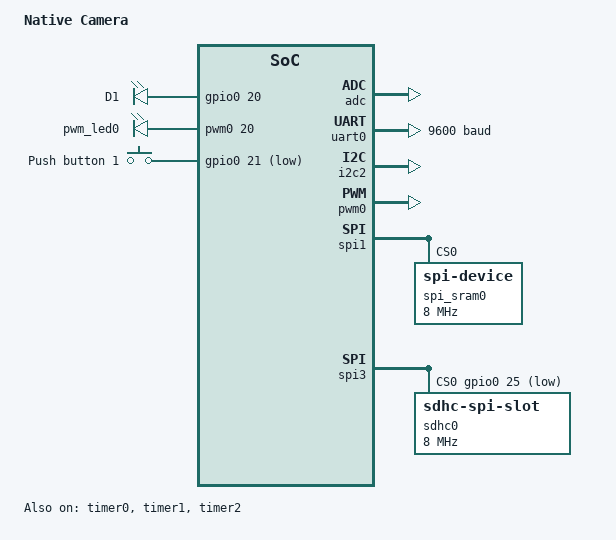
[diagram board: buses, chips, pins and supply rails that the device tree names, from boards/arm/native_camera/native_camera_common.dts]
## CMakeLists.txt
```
# SPDX-License-Identifier: Apache-2.0

cmake_minimum_required(VERSION 3.20.0)

cmake_path(SET ZephyrBase $ENV{ZEPHYR_BASE})
# set(DTC_OVERLAY_FILE ${ZephyrBase}/../modules/lib/Arduino-Zephyr-API/variants/${BOARD}/${BOARD}.overlay)
# set(ZEPHYR_EXTRA_MODULES ${ZephyrBase}/../modules/lib/Arduino-Zephyr-API)

list(APPEND BOARD_ROOT ${CMAKE_CURRENT_SOURCE_DIR})

find_package(Zephyr REQUIRED HINTS $ENV{ZEPHYR_BASE})
project(native_camera)

set(APP_SOURCE_DIR ${PROJECT_SOURCE_DIR}/src)

set(LEX_YY_C ${CMAKE_BINARY_DIR}/lex.yy.c)
set(Y_TAB_H ${CMAKE_BINARY_DIR}/y.tab.h)
set(Y_TAB_C ${CMAKE_BINARY_DIR}/y.tab.c)
set(CONFIG_L ${APP_SOURCE_DIR}/config.l)
set(CONFIG_Y ${APP_SOURCE_DIR}/config.y)


target_sources(app PRIVATE src/main.c)
target_sources(app PRIVATE src/ov7675.c)
#target_sources(app PRIVATE src/sram.c)
target_sources(app PRIVATE src/modem.c)
target_sources(app PRIVATE src/ftp.c)
target_sources(app PRIVATE src/http.c)
target_sources(app PRIVATE src/sd.c)
target_sources(app PRIVATE src/util.c)
target_sources(app PRIVATE src/jpg.c)
target_sources(app PRIVATE src/common.c)
target_sources(app PRIVATE src/watchdog.c)
target_sources(app PRIVATE src/resets.c)
target_sources(app PRIVATE src/tmalloc.c)

target_sources(app PRIVATE ${LEX_YY_C})
target_sources(app PRIVATE ${Y_TAB_C})

# unit tests 
target_sources(app PRIVATE tests/test.c)
target_sources(app PRIVATE tests/test.main.c)
target_sources(app PRIVATE tests/test.modem.c)
target_sources(app PRIVATE tests/test.ov7675.c)

include_directories(app PUBLIC 
     "${APP_SOURCE_DIR}"
     "${CMAKE_BINARY_DIR}" #for y.tab.h
     )

message(STATUS "Host System Name: ${CMAKE_HOST_SYSTEM_NAME}")
if (CMAKE_HOST_SYSTEM_NAME STREQUAL "Linux")
	message(STATUS "${CMAKE_HOST_SYSTEM_NAME} yacc/flex build rules")
	##for flex on linux
	add_custom_command(
	    OUTPUT ${LEX_YY_C} # The output generated by the code generator
	    COMMAND flex -o${LEX_YY_C} ${CONFIG_L} 
	    DEPENDS ${CONFIG_L} # Add dependencies like input files or the code generator executable
	    COMMENT "Flex: generating lexer"
	)

	##for yacc on linux
	add_custom_command(
	    OUTPUT ${Y_TAB_C} ${Y_TAB_H} # The output generated by the code generator
	    COMMAND bison -d -o${Y_TAB_C} ${CONFIG_Y} 
	    DEPENDS ${CONFIG_Y} # Add dependencies like input files or the code generator executable
	    COMMENT "Bison: generating parser"
	)

elseif(CMAKE_HOST_SYSTEM_NAME STREQUAL "Windows")
	message(STATUS "${CMAKE_HOST_SYSTEM_NAME} yacc/flex build rules")
	##for flex on windows via wsl
	add_custom_command(
	    OUTPUT ${LEX_YY_C} # The output generated by the code generator
	    COMMAND wsl flex -o`wslpath -u ${LEX_YY_C}` `wslpath -u ${CONFIG_L}` 
	    DEPENDS ${CONFIG_L} # Add dependencies like input files or the code generator executable
	    COMMENT "Flex: generating lexer"
	)

	##for yacc on windows via wsl
	add_custom_command(
	    OUTPUT ${Y_TAB_C} ${Y_TAB_H} # The output generated by the code generator
	    COMMAND wsl yacc -d `wslpath -u ${CONFIG_Y}` -o`wslpath -u ${Y_TAB_C}` 
	    DEPENDS ${CONFIG_Y} # Add dependencies like input files or the code generator executable
	    COMMENT "Yacc: generating parser"
	)
else()
	message(FATAL_ERROR "no rule to call flex and bison to generate parser files. Please implement here")

endif()
```

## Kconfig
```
# firmware configuration

source "Kconfig.zephyr"

config DBG_CONFIG_OVERLAY 
 bool "Apply an overlay to the sdhc config file"
 default n

config DBG_SEND_IMAGE_RTT
 bool "Send all images over RTT after capture"
 default n

config DBG_TEST_RUNTIME
 bool "Run the test runtime before main code"
 default n
```

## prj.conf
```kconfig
CONFIG_GPIO=y

CONFIG_TRUSTED_EXECUTION_NONSECURE=y

#CONFIG_NO_OPTIMIZATIONS=y
CONFIG_PRINTK=y
CONFIG_CONSOLE=y

# UART logging devzone.nordicsemi.com/.../nrf91-zephyr-enable-lte-logging
CONFIG_LOG=y
CONFIG_STDOUT_CONSOLE=y
CONFIG_UART_CONSOLE=n
CONFIG_RTT_CONSOLE=y

#this option REQUIRES a rtt terminal to be connected
CONFIG_USE_SEGGER_RTT=y
# CONFIG_USE_SEGGER_RTT=n

CONFIG_LOG_BACKEND_RTT=y
# CONFIG_SHELL_BACKEND_RTT=y
# CONFIG_LOG_BACKEND_RTT_MODE_BLOCK=y

CONFIG_PM=y

# ##I2C
CONFIG_I2C=y
CONFIG_I2C_NRFX=y

##FILE SYSTEM SD CARD
CONFIG_DISK_DRIVER_SDMMC=y
CONFIG_FILE_SYSTEM=y
CONFIG_FAT_FILESYSTEM_ELM=y
CONFIG_FS_FATFS_LFN=y

CONFIG_DISK_ACCESS=y
CONFIG_DISK_DRIVERS=y
CONFIG_SPI=y
# dejan: The following has not been available in ncs since v2.1.0
#CONFIG_SDMMC_OVER_SPI=y
CONFIG_SPI_NRFX_RAM_BUFFER_SIZE=8

##memory
CONFIG_MAIN_STACK_SIZE=4096
CONFIG_HEAP_MEM_POOL_SIZE=16384
CONFIG_SYSTEM_WORKQUEUE_STACK_SIZE=4096

##LTE MODEM
CONFIG_NRF_MODEM_LIB=y
# CONFIG_NRF_MODEM_LIB_ON_FAULT_DO_NOTHING is not set
CONFIG_NRF_MODEM_LIB_ON_FAULT_RESET_MODEM=y
# CONFIG_NRF_MODEM_LIB_ON_FAULT_APPLICATION_SPECIFIC is not set
CONFIG_AT_MONITOR=y

# LTE link control
CONFIG_LTE_LINK_CONTROL=y
CONFIG_LTE_AUTO_INIT_AND_CONNECT=n # we want to control all this on the application side
# LTE parameters
## Network Mode / LTE category
# CONFIG_LTE_NETWORK_MODE_LTE_M=y

## PSM
# CONFIG_UDP_PSM_ENABLE=y
# CONFIG_PDN_LEGACY_PCO=y
# CONFIG_LTE_PSM_REQ_RPTAU="00000110"
# CONFIG_LTE_PSM_REQ_RAT="00000101"

## eDRX
# CONFIG_UDP_EDRX_ENABLE=n
# CONFIG_LTE_EDRX_REQ_VALUE_LTE_M="1001"

## RAI
# CONFIG_UDP_RAI_ENABLE=n
# CONFIG_LTE_RAI_REQ_VALUE="4"


CONFIG_NETWORKING=y
CONFIG_NET_NATIVE=n
CONFIG_NET_SOCKETS=y
CONFIG_NET_SOCKETS_OFFLOAD=y

CONFIG_FTP_CLIENT=y
CONFIG_FTP_CLIENT_KEEPALIVE_TIME=60
CONFIG_FTP_CLIENT_LISTEN_TIME=10
CONFIG_FTP_CLIENT_LOG_LEVEL_INF=y

CONFIG_HTTP_CLIENT=y

CONFIG_NEWLIB_LIBC=y
CONFIG_NEWLIB_LIBC_FLOAT_PRINTF=y

##RTC
CONFIG_DATE_TIME=y
CONFIG_DATE_TIME_MODEM=y
CONFIG_DATE_TIME_NTP=n

##SLEEPY
# CONFIG_LTE_PSM_REQ_RPTAU="10101010"
# CONFIG_LTE_PSM_REQ_RAT="00100001"

# General config
# CONFIG_NEWLIB_LIBC=y
# CONFIG_NCS_SAMPLES_DEFAULTS=y
CONFIG_SERIAL=n

# Network
# CONFIG_NETWORKING=y
# CONFIG_NET_SOCKETS=y

# CONFIG_DEBUG_THREAD_INFO=y
# CONFIG_THREAD_MONITOR=y
# CONFIG_DEBUG_OPTIMIZATIONS=y
CONFIG_SPEED_OPTIMIZATIONS=y

CONFIG_WATCHDOG=y
CONFIG_WDT_DISABLE_AT_BOOT=n

## reset cause information
CONFIG_HWINFO=y

# Fault diagnostics
CONFIG_RESET_ON_FATAL_ERROR=y
CONFIG_FATAL_ERROR_LOG_LEVEL_DBG=y

# Stack overflow detection
CONFIG_STACK_SENTINEL=y
CONFIG_INIT_STACKS=y
CONFIG_THREAD_STACK_INFO=n

CONFIG_THREAD_ANALYZER=n
CONFIG_THREAD_ANALYZER_AUTO=n
# CONFIG_THREAD_NAME=y
# CONFIG_THREAD_ANALYZER_AUTO_INTERVAL=1800
# CONFIG_LOG_MODE_IMMEDIATE=y

# Optional but useful
CONFIG_REBOOT=y


## FIRMWARE DEBUG CONFIGS ##
CONFIG_DBG_CONFIG_OVERLAY=n

CONFIG_DBG_SEND_IMAGE_RTT=n
CONFIG_DBG_TEST_RUNTIME=n
```

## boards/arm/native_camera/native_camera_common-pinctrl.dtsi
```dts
/*
 * Copyright (c) 2022 Nordic Semiconductor
 * SPDX-License-Identifier: Apache-2.0
 */

&pinctrl {
	uart0_default: uart0_default {
		group1 {
			psels = <NRF_PSEL(UART_TX, 0, 31)>,
				<NRF_PSEL(UART_RTS, 0, 0xFFFFFFFF)>;
		};
		group2 {
			psels = <NRF_PSEL(UART_RX, 0, 30)>,
				<NRF_PSEL(UART_CTS, 0, 0xFFFFFFFF)>;
			bias-pull-up;
		};
	};

	uart0_sleep: uart0_sleep {
		group1 {
			psels = <NRF_PSEL(UART_TX, 0, 31)>,
				<NRF_PSEL(UART_RX, 0, 30)>,
				<NRF_PSEL(UART_RTS, 0, 0xFFFFFFFF)>,
				<NRF_PSEL(UART_CTS, 0, 0xFFFFFFFF)>;
			low-power-enable;
		};
	};

	uart1_default: uart1_default {
		group1 {
			psels = <NRF_PSEL(UART_TX, 0, 1)>,
				<NRF_PSEL(UART_RTS, 0, 14)>;
		};
		group2 {
			psels = <NRF_PSEL(UART_RX, 0, 0)>,
				<NRF_PSEL(UART_CTS, 0, 15)>;
			bias-pull-up;
		};
	};

	uart1_sleep: uart1_sleep {
		group1 {
			psels = <NRF_PSEL(UART_TX, 0, 1)>,
				<NRF_PSEL(UART_RX, 0, 0)>,
				<NRF_PSEL(UART_RTS, 0, 14)>,
				<NRF_PSEL(UART_CTS, 0, 15)>;
			low-power-enable;
		};
	};

	i2c2_default: i2c2_default {
		group1 {
			psels = <NRF_PSEL(TWIM_SDA, 0, 10)>,
				<NRF_PSEL(TWIM_SCL, 0, 9)>;
		};
	};

	i2c2_sleep: i2c2_sleep {
		group1 {
			psels = <NRF_PSEL(TWIM_SDA, 0, 10)>,
				<NRF_PSEL(TWIM_SCL, 0, 9)>;
			low-power-enable;
		};
	};

	pwm0_default: pwm0_default {
		group1 {
			psels = <NRF_PSEL(PWM_OUT0, 0, 20)>;
		};
	};

	pwm0_sleep: pwm0_sleep {
		group1 {
			psels = <NRF_PSEL(PWM_OUT0, 0, 20)>;
			low-power-enable;
		};
	};

	spi1_default: spi1_default {
		group1 {
			psels = <NRF_PSEL(SPIM_SCK, 0, 26)>,
				<NRF_PSEL(SPIM_MISO, 0, 29)>,
				<NRF_PSEL(SPIM_MOSI, 0, 27)>;
		};
	};

	spi1_sleep: spi1_sleep {
		group1 {
			psels = <NRF_PSEL(SPIM_SCK, 0, 26)>,
				<NRF_PSEL(SPIM_MISO, 0, 29)>,
				<NRF_PSEL(SPIM_MOSI, 0, 27)>;
			low-power-enable;
		};
	};

	spi3_default: spi3_default {
		group1 {
			psels = <NRF_PSEL(SPIM_SCK, 0, 22)>,
				<NRF_PSEL(SPIM_MISO, 0, 23)>,
				<NRF_PSEL(SPIM_MOSI, 0, 24)>;
		};
	};

	spi3_sleep: spi3_sleep {
		group1 {
			psels = <NRF_PSEL(SPIM_SCK, 0, 22)>,
				<NRF_PSEL(SPIM_MISO, 0, 23)>,
				<NRF_PSEL(SPIM_MOSI, 0, 24)>;
			low-power-enable;
		};
	};
};
```

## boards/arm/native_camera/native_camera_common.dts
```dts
/*
 * Copyright (c) 2018-2020 Nordic Semiconductor ASA
 *
 * SPDX-License-Identifier: Apache-2.0
 */

#include "native_camera_common-pinctrl.dtsi"

/ {
	model = "Native Camera";
	compatible = "BoSL,nativecamera";

	chosen {
		zephyr,console = &uart0;
		zephyr,shell-uart = &uart0;
		zephyr,uart-mcumgr = &uart0;
	};

	leds {
		compatible = "gpio-leds";
		led0: led_0 {
			gpios = <&gpio0 20 0>;
			label = "D1";
		};
	};

	pwmleds {
		compatible = "pwm-leds";
		pwm_led0: pwm_led_0 {
			pwms = <&pwm0 20 0 PWM_POLARITY_NORMAL>;
		};
	};

	buttons {
		compatible = "gpio-keys";
		button0: button_0 {
			gpios = <&gpio0 21 (GPIO_PULL_UP | GPIO_ACTIVE_LOW)>;
			label = "Push button 1";
		};
	};
	
		

	/* These aliases are provided for compatibility with samples */
	aliases {
		led0 = &led0;
		pwm-led0 = &pwm_led0;
		sw0 = &button0;
		bootloader-led0 = &led0;
		watchdog0 = &wdt0;
	};
};

&adc {
	status = "okay";
};

&gpiote {
	status = "okay";
};

&gpio0 {
	status = "okay";
};


arduino_serial: &uart0 {
	status = "okay";
	current-speed = <9600>;
	pinctrl-0 = <&uart0_default>;
	pinctrl-1 = <&uart0_sleep>;
	pinctrl-names = "default", "sleep";
};

arduino_i2c: &i2c2 {
	label = "I2C2";
	compatible = "nordic,nrf-twim";
	status = "okay";
	pinctrl-0 = <&i2c2_default>;
	pinctrl-1 = <&i2c2_sleep>;
	pinctrl-names = "default", "sleep";
};

&pwm0 {
	status = "okay";
	pinctrl-0 = <&pwm0_default>;
	pinctrl-1 = <&pwm0_sleep>;
	pinctrl-names = "default", "sleep";
};

&spi1 {
	compatible = "nordic,nrf-spim";
	status = "okay";
	pinctrl-0 = <&spi1_default>;
	pinctrl-1 = <&spi1_sleep>;
	pinctrl-names = "default", "sleep";

	spi_sram0: spi-device@0 {
		reg = <0>;
		status = "okay";
		spi-max-frequency = <8000000>;
	};
};

&spi3 {
        compatible = "nordic,nrf-spim";
        status = "okay";
        cs-gpios = <&gpio0 25 GPIO_ACTIVE_LOW>;
	pinctrl-0 = <&spi3_default>;
	pinctrl-1 = <&spi3_sleep>;
	pinctrl-names = "default", "sleep";

	sdhc0: sdhc@0 {
		compatible = "zephyr,sdhc-spi-slot";
		reg = <0>;
		status = "okay";
		mmc {
			compatible = "zephyr,sdmmc-disk";
			disk-name = "SD";
			status = "okay";
		};
		spi-max-frequency = <8000000>;
	};
};

&timer0 {
	status = "okay";
};

&timer1 {
	status = "okay";
};

&timer2 {
	status = "okay";
};

&flash0 {

	partitions {
		compatible = "fixed-partitions";
		#address-cells = <1>;
		#size-cells = <1>;

		boot_partition: partition@0 {
			label = "mcuboot";
			reg = <0x00000000 0x10000>;
		};
		slot0_partition: partition@10000 {
			label = "image-0";
		};
		slot0_ns_partition: partition@50000 {
			label = "image-0-nonsecure";
		};
		slot1_partition: partition@80000 {
			label = "image-1";
		};
		slot1_ns_partition: partition@c0000 {
			label = "image-1-nonsecure";
		};
		scratch_partition: partition@f0000 {
			label = "image-scratch";
			reg = <0x000f0000 0xa000>;
		};
		storage_partition: partition@fa000 {
			label = "storage";
			reg = <0x000fa000 0x00006000>;
		};
	};
};

/ {

	reserved-memory {
		#address-cells = <1>;
		#size-cells = <1>;
		ranges;

		sram0_s: image_s@20000000 {
			/* Secure image memory */
		};

		sram0_modem: image_modem@20016000 {
			/* Modem (shared) memory */
		};

		sram0_ns: image_ns@20020000 {
			/* Non-Secure image memory */
		};
	};
};

/* Include partition configuration file */
#include "native_camera_partition_conf.dts"
```

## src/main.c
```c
#include <nrfx.h>
#include <hal/nrf_gpio.h>

#include <inttypes.h>

#include <date_time.h>
#include <stdlib.h>


#include "common.h"
#include "ov7675.h"
#include "sd.h"
#include "modem.h"
#include "ftp.h"
#include "http.h"
#include "jpg.h"
#include "watchdog.h"
#include "resets.h"


#ifdef CONFIG_DBG_TEST_RUNTIME
    #include "../tests/test.h"
#endif

/*************** VERSION NUMBER ********************/
// #define _VERSION "v2.1.1rc"
#define _VERSION "v2.1.0"
/*************** TODO *******************************
[ ] add UART trigger and configuration 
[ ] compute jpg huffman coefficients at compile time and store in flash (tjpg.h)
[X] check that time source remains correct when modem is reset
[X] add backup DNS configuration
[ ] we should store the status string when we write to the SDHC so that it the same on the SDHC and FTP
[ ] add 'damage' counter which will reset via WDT if too many errors accumulate
[ ] add logging of errors on SDHC and via upload
[X] log the signal quality
[X] perform an automatic search for networks when the default network is not found
    [ ] attempt an automatic connection if lots of uploads have failed
    [X] store a list of known networks with their signal quality
[ ] add automatic detection of when image is exposed well/remembering of last exposure settings
[ ] consider encoding image differences to better compression. Most objects in the static scene will not change with time.
[X] automatically make directories on sd card and ftp
    [X] automatically make 'images' folder on sd card.
[X] use yacc flex for parsing SD card config file
[ ] add versioning in config file
[ ] figure out how to name files when no network info
[X] add alarm based logging rather than delay based
    [X] logging based on length of last loop, not quite RTC yet though
[X] add jpeg mode
    [X] make jpeg compression work on VGA images.
    [X] does jpeg work now that the data in capture may not be the image data (investigate)
[X] add option to switch to 640x480
[ ] issue with network time reset on low power sleep?
[ ] find best idle states for pins (eg: 28) for low power
****************************************************/

LOG_MODULE_REGISTER(main);

#define CAPTURE_QUEUE_SIZE 1
K_MSGQ_DEFINE(capture_q, sizeof(struct capture_task_t), CAPTURE_QUEUE_SIZE, 1);

const struct device* gpio      = DEVICE_DT_GET(DT_NODELABEL(gpio0));
const struct device* i2c_sccb  = DEVICE_DT_GET(DT_NODELABEL(i2c2));
const struct device* spi_sram; /* init in a bit of a different way? */

static uint8_t image_buffer[2*QVGA_WIDTH*QVGA_HEIGHT];

static struct master_config_t mcfg;

struct status_t status_g = {
                                .time_wall = 0,             /* updated by capture_f() */
                                .battery_voltage = -1,      /* updated by capture_f() */
                                .captures = 0,              /* updated by capture_worker() */ 
                                .network_capture_count = -1,/* updated by capture_worker() */ 
                                .time_src = NO_TIME,        /* updated by time_source_stats_async() */
                                .mccmnc = "\0\0\0\0\0\0\0", /* updated by modem.c */
                                .rsrq = 0xFF,               /* updated by modem.c */
                                .rsrp = 0xFF,               /* updated by modem.c */
                                .network_searched = 0,      /* updated by modem.c */
                                };

struct http_endpoint http_ep_g;


// This function puts a capture task into the capture queue. If the queue is full, it will drop the oldest item to make room for the new one.
void msgq_put_force(struct k_msgq* const q, const struct capture_task_t* const task) {
    const int ret_put = k_msgq_put(q, task, K_NO_WAIT);

    switch (ret_put) {
        case 0:
            LOG_INF("capture task pushed");
            break;
        case -ENOMSG:
        case -EAGAIN:
            LOG_WRN("capture queue full (ret=%d): dropping oldest capture task", ret_put);
            // Try to drop the oldest item to make room
            struct capture_task_t dummy;
            int ret_get = k_msgq_get(q, &dummy, K_NO_WAIT);
            if (ret_get == 0 || ret_get == -ENOMSG) {
                // Successfully dropped an item or queue was empty, retry the put
                msgq_put_force(q, task);
            } else {
                LOG_WRN("cannot empty capture queue (ret=%d): dropping this capture task", ret_get);
            }
            break;
        default:
            LOG_ERR("unexpected msgq error (ret=%d): cannot push wake trigger capture", ret_put);
            break;
        }
}

/******************************************************************************/
/* TIME TRIGGER                                                               */
/******************************************************************************/

void time_trigger_handler(struct k_timer* timer_id) {
    static int time_trigger_count = 0;
    const int64_t now_ms = k_uptime_get();

    const int d = mcfg.trig_cfg.logging_decimation_ftp; /* must exist as this thread only init after mcfg parsed successfully */

    const struct capture_task_t capture_task = {
        .requested_at_ms = now_ms,
        .trigger = TIME_TRIGGER,
        .upload = (d > 0) && (0 == (time_trigger_count % d)), /* respect logging decimation on time triggers */
        .respect_dark_noup = 1, /* respect dark_noup setting */
    };
    time_trigger_count++;

    LOG_INF("time trigger capture task triggered");
    msgq_put_force(&capture_q, &capture_task);
}

int init_time_trigger_capture(uint32_t interval_ms) {
    static struct k_timer capture_timer;
    k_timer_init(&capture_timer, time_trigger_handler, NULL);
    
    k_timer_start(&capture_timer, K_NO_WAIT, K_MSEC(interval_ms));
    
    LOG_INF("Successfully scheduled periodic capture timer for %u ms interval.", interval_ms);
    return 0;
}

/******************************************************************************/
/* WAKE TRIGGER                                                               */
/******************************************************************************/

void wake_trigger_handler(const struct device *dev,
              struct gpio_callback *cb,
              uint32_t pins) {
    static int64_t last_wake_trigger_ms = 0;
    const int64_t now_ms = k_uptime_get();

    if ((now_ms - last_wake_trigger_ms) < WAKE_PIN_TRIGGER_HOLDOUT_MS) { return; }
    last_wake_trigger_ms = now_ms;

    const struct capture_task_t capture_task = {
        .requested_at_ms = now_ms,
        .trigger = WAKE_TRIGGER,
        .upload = 1,
        .respect_dark_noup = 0, /* wake trigger should not respect the dark noup */
    };

    LOG_INF("wake trigger capture task triggered");
    msgq_put_force(&capture_q, &capture_task);
}

static struct gpio_callback gpio_cb;
int init_wake_trigger_capture(void){
    int ret = 0;

    ret = gpio_pin_configure(gpio, WKE_PIN, GPIO_INPUT | GPIO_PULL_DOWN);
    if (ret) {
        LOG_ERR("Failed to configure WKE pin, error: %d", ret);
        return ret;
    }
    k_sleep(K_MSEC(50)); /* allow time for pin to get pulled down */

    ret = gpio_pin_interrupt_configure(gpio, WKE_PIN, GPIO_INT_EDGE_RISING);
    if (ret) {
        LOG_ERR("Failed to configure WKE interrupt, error: %d", ret);
        return ret;
    }

    gpio_init_callback(&gpio_cb, wake_trigger_handler, BIT(WKE_PIN));

    ret = gpio_add_callback(gpio, &gpio_cb);
    if (ret) {
        LOG_ERR("Failed to add wke interrupt callback, error: %d", ret);
        return ret;
    }else{
        LOG_INF("Enabled wke interrupt success!");
    }

    return 0;
}

/******************************************************************************/
/* NETWORK TRIGGER                                                            */
/******************************************************************************/

void network_trigger_handler(struct k_timer* timer_id) {
    const int64_t now_ms = k_uptime_get();
    int ret;

    const int d = mcfg.trig_cfg.logging_decimation_ftp; /* must exist as this thread only init after mcfg parsed successfully */
    if (d == 0){return;}
    LOG_INF("polling network for trigger task...");

    const struct capture_task_t capture_task = {
        .requested_at_ms = now_ms,
        .trigger = NETWORK_TRIGGER,
        .upload = 1,
        .respect_dark_noup = 0, /* network trigger should not respect the dark noup */
    };

    LOG_INF("network trigger capture task triggered");
    msgq_put_force(&capture_q, &capture_task);
}

int init_network_trigger_capture(uint32_t interval_ms) {
    static struct k_timer capture_timer;
    k_timer_init(&capture_timer, network_trigger_handler, NULL);

    k_timer_start(&capture_timer, K_NO_WAIT, K_MSEC(interval_ms));
    
    LOG_INF("Successfully scheduled network capture timer for %u ms interval.", interval_ms);
    return 0;
}

/******************************************************************************/
/* CAPTURE WORKER                                                             */
/******************************************************************************/

int unix_time_now(int32_t* ct_wall){
    int ret = 0;

    int64_t unix_time_ms;
    ret = date_time_now(&unix_time_ms);
    if(ret < 0){return ret;}
    *ct_wall = (uint32_t) (unix_time_ms/1000);

    return 0;
}

int update_status(int32_t time_wall){
    status_g.time_wall = time_wall;
    slm_vbat(&status_g.battery_voltage);

    return 0;
}


int capture_f(const struct capture_task_t* const capture_task){
    int ret;
    watchdog_feed(); // TODO: BUG: this will fail if the capture is done less than once a day

    uint8_t mean_rgb;

    int32_t time_wall = 0;
    unix_time_now(&time_wall);

    update_status(time_wall);

    struct capture_t capture = {
                                .data = image_buffer, 
                                .capacity = sizeof(image_buffer), 
                                .size = 0, 

                                .time_wall = time_wall,
                                };

    LOG_INF("ov7675 initialisation");
    ov7675_init(&mcfg.im_cfg, &capture);

    LOG_INF("ov7675 capture");
    const int do_mean =    (capture_task->respect_dark_noup) 
                        && (mcfg.trig_cfg.dark_noup != 0xFF) 
                        && (mcfg.trig_cfg.dark_noup != 0);

    ov7675_capture_sdhc_buffered(mcfg.im_cfg.flash, &capture, do_mean, &mean_rgb);
    LOG_INF("mean_rgb: %u", mean_rgb);

    LOG_INF("ov7675 deinit");
    ov7675_deinit(mcfg.im_cfg.flash);

#ifdef CONFIG_DBG_SEND_IMAGE_RTT
    sdhc_file_to_rtt(SCRATCH_FILE);
#endif

    LOG_INF("image -> sdhc");
    ret = sdhc_move_image(mcfg.sd_cfg.image_path, &capture);
    if(ret < 0){LOG_ERR("sdhc_move_image fail! ret=%d",ret);}

    LOG_INF("status -> sdhc");
    ret = sdhc_write_status(mcfg.sd_cfg.status_path, &status_g, capture_task);
    if(ret < 0){LOG_ERR("sdhc_write_status fail! ret=%d",ret);}

    if(mcfg.im_cfg.format == JPG){
        LOG_INF("jpg -> sdhc");
        ret = sdhc_write_jpg(mcfg.sd_cfg.image_path, &capture);
        if(ret < 0){LOG_ERR("sdhc_write_jpg fail! ret=%d", ret);}
    }

    // check that this gracefully exits if the signal is low and continues with SD only logging for this loop
    if (capture_task->upload){
        if (!do_mean || ! (mean_rgb < mcfg.trig_cfg.dark_noup)){ /* if the image is not dark */
            LOG_INF("image -> ftp");

            ret = ftp_write_image(&mcfg.ftp_cfg, &capture);
            if(ret){modem_network_deregister();}
        }

        LOG_INF("status -> ftp");
        ret = ftp_write_status(&mcfg.ftp_cfg, &status_g, capture_task);
        if(ret){modem_network_deregister();}
    }

    LOG_INF("done");

    k_msleep(1000); //guarantee other threads time to execute
    return 0;
}

void capture_worker_f(void *p1, void *p2, void *p3){
    /*
     * this thread should only start processing once setup() has passed
     * in practice this guaranteed by only submitting tasks to the queue once
     * setup() passes.
     */
    struct capture_task_t capture_task;

    while(1){
        if (!k_msgq_get(&capture_q, &capture_task, K_FOREVER)){ // always 0 for K_FOREVER unless queue is purged
            LOG_INF("new capture task received! "); 
            if(capture_task.trigger == NETWORK_TRIGGER){ /* for whatever reason this needs to happen in the main thread */
                if(http_ep_g.host == NULL){
                    LOG_ERR("no host configured for network trigger!");
                    continue;
                }
                /*
                 * Modem operations must happen in this thread :(
                 */
                int ret = modem_network_register(&mcfg.ftp_cfg);
                if (ret < 0) {
                    LOG_ERR("network registration failed (%d)", ret);
                    continue;
                }

                uint32_t network_count;
                ret = http_get_uint32(
                    &http_ep_g,
                    mcfg.trig_cfg.network_site,
                    &network_count);
                if (ret) {
                    LOG_ERR("HTTP counter read failed (%d)", ret);
                    continue;
                }

                if (status_g.network_capture_count < 0) {
                    status_g.network_capture_count = network_count;
                    LOG_INF("initial network capture count %u", network_count);
                    continue;
                }

                if (network_count <= status_g.network_capture_count) {
                    LOG_INF("no new network capture");
                    continue;
                }

                LOG_INF("new network capture available %u -> %u",
                        status_g.network_capture_count,
                        network_count);
                status_g.network_capture_count = network_count;
            }
            LOG_INF("============================================= CAPTURE #%09u =====", status_g.captures);
            int ret_cap = capture_f(&capture_task);
            status_g.captures++;
            if (ret_cap) {
                LOG_ERR("capture failed (%d)", ret_cap);
            }
        }
    }
}

/* setup the worker thread */
#define CAPTURE_WORKER_THREAD_STACK_SIZE (4096)
K_THREAD_DEFINE(capture_worker, CAPTURE_WORKER_THREAD_STACK_SIZE, capture_worker_f, NULL, NULL, NULL,
        CONFIG_MAIN_THREAD_PRIORITY, K_ESSENTIAL, 0);

/******************************************************************************/
/* SETUP                                                                      */
/******************************************************************************/

void time_source_stats_async(const struct date_time_evt* evt){
    switch (evt->type){
    case DATE_TIME_OBTAINED_MODEM:
        status_g.time_src = NETWORK_TIME;
        break;
    case DATE_TIME_OBTAINED_NTP:
        status_g.time_src = NTP_TIME;
        break;
    case DATE_TIME_OBTAINED_EXT:
        status_g.time_src = EXT_TIME;
        break;
    case DATE_TIME_NOT_OBTAINED:
        status_g.time_src = NO_TIME;
        break;
    }
}

int setup(void){
    int ret = 0;

    ret = watchdog_init_and_start();

    ret = sdhc_mount();//very importaint for low power

    ret = sdhc_load_config(CONFIG_FILE, &mcfg);
    if(ret < 0){
        LOG_ERR("failed to load config. halting");
        return ret;
    }
#ifdef CONFIG_DBG_CONFIG_OVERLAY
    _dbg_config_overlay(&mcfg);
#endif

    nrf_gpio_cfg_input(mcfg.im_cfg.flash, NRF_GPIO_PIN_PULLDOWN);

    int d = mcfg.trig_cfg.logging_decimation_ftp;
    if(d > 0){//first try get time from network
        http_endpoint_init_host(&http_ep_g, mcfg.trig_cfg.network_domain, 80);

        ftp_setup();

        modem_init();

        //gets current network time
        ret = modem_network_register(&mcfg.ftp_cfg);
        if(ret == 0){
            date_time_update_async(NULL);
            LOG_INF("busy wait for valid time");
            for(uint32_t i = 0; i < 1000; i++){
                if(date_time_is_valid()){break;}
                k_msleep(10);
            }
            status_g.time_src = NETWORK_TIME;
        }
    }

    date_time_register_handler(time_source_stats_async);

    if(!date_time_is_valid()){//then from SD
        LOG_WRN("no network time, resorting to SD");
        struct tm cal;
        ret = sdhc_load_last_status_time(mcfg.sd_cfg.status_path, &cal);
        if(ret == 0){
            ret = date_time_set(&cal);
            status_g.time_src = FS_TIME;
        }
    }
    if(!date_time_is_valid()){//then from default time epoch
        LOG_WRN("no valid time, resorting to default");
        struct tm cal = {	.tm_sec = 0,
                            .tm_min = 0,
                            .tm_hour = 0,
                            .tm_mday = 1,
                            .tm_mon = 0,
                            .tm_year = 120,
                            .tm_wday = 0,
                            .tm_yday = 0,
                            .tm_isdst = 0,
                        };//2020/01/01-00:00:00 UTC
        ret = date_time_set(&cal);
        status_g.time_src = NO_TIME;
    }
    if(!date_time_is_valid()){return -ENODATA;}


    return 0;
}

int main(void){
    int ret = 0;

    log_reset_reason();

    // for the test suit to work it should always remain here as the first line of code!
#ifdef CONFIG_DBG_TEST_RUNTIME
    printk("*** ENTERING TEST RUNTIME ***");
    test_runtime();
#endif

    printk("*** BoSLcam firmware " _VERSION " complied on " __DATE__ " at " __TIME__ " ***\n");

    //some low power stuff

    //try out high and low for min power
    // nrf_gpio_cfg_input( 28, NRF_GPIO_PIN_PULLUP);
    //
    nrf_gpio_cfg_input(LED_FLASH_INBUILT_PIN, NRF_GPIO_PIN_PULLDOWN);//we haven't read the SD config file yet so we don't know which pin to pull down. We will guess the INBUILT one as it won't affect external UART if connected. This does mean that if the flash is external it will remain on until we read the config.
    NRF_UARTE0->ENABLE = 0;
    NRF_SPIM1->ENABLE = 0;
    NRF_TWIM2->ENABLE = 0;


    /* useful for knowing application has launched in the field */
    led(1);
    k_msleep(1000);
    led(0);

    ret = setup();
    if(ret < 0){
        LOG_ERR("setup failed with result %d!", ret);
        k_oops();
        //lockup program and halt
        //try call for help
    }


    /* init capture triggers */
    ret = init_time_trigger_capture(mcfg.trig_cfg.logging_interval);
    ret = init_wake_trigger_capture();           /* failure not fatal */
    ret = init_network_trigger_capture(mcfg.trig_cfg.network_interval);  /* failure not fatal */

   while(1){
        k_sleep(K_FOREVER); /* execution now thread based */
    } 

    /* this is dead code because all the execution threads are essential but this below is the correct graceful shutdown code */
    nrf_gpio_cfg_input(LED_FLASH_INBUILT_PIN, NRF_GPIO_PIN_PULLDOWN);//we haven't read the SD config file yet so we don't know which pin to pull down. We will guess the INBUILT one as it won't affect external UART if connected. This does mean that if the flash is external it will remain on until we read the config.
    nrf_gpio_cfg_input(WKE_PIN, NRF_GPIO_PIN_PULLDOWN);
    nrf_gpio_cfg_input(SCCB_PDN, NRF_GPIO_PIN_PULLUP);

    return 0;       // suppress compiler warning about main() having to return int
}

#ifdef CONFIG_DBG_CONFIG_OVERLAY
void _dbg_config_overlay(struct master_config_t* mcfg){
    mcfg->im_cfg.format = BMP;
    mcfg->im_cfg.resolution = QVGA;
    mcfg->im_cfg.use_flash = 0;
    mcfg->trig_cfg.logging_interval = 240000;
    mcfg->trig_cfg.logging_decimation_ftp = 0;
    mcfg->trig_cfg.dark_noup = 30;
}
#endif
```

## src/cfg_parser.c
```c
#include <string.h>
#include <stdlib.h>
#include <stdio.h>


#include "common.h"


enum type_type{
	NULL_TYPE,
	UINT32_T_TYPE,
	CHARP_TYPE,	
	ENUM_TYPE,
};

struct config_variable_t {
	enum type type_type;
	char* name;
	void* vp;
};

config_variable_t auto_range_time_cfg {UINT32_T_TYPE, "auto_range_time", NULL};


int next_token(){
	
}


const config_variable_t null_option = {NULL_TYPE, NULL, NULL};
int parse(){


	while(line){

		config_variable_t line_option = null_option;

		if(!next_tok == type){goto syntax_error;}
		line_option.type_type = next_tok;

		if(!next_tok == name){goto syntax_error;}
		line_option.name = next_tok;

		if(tokmatch(line_option)){goto match_error;}

		if(!next_tok == '='){goto syntax_error;}

		if(!next_tok == value){goto syntax_error;}
		line_option.vp = parse_val_tok(next_tok);




	}

syntax_error:
match_error:


	return ret;

}


enum parse_state{
	NAME = 0,
	COMMENT,
	VALUE,
};

int store_int(char* from_string, uint32_t* to){
	*to = atoi(from_string); 
	return 0;
}
int store_string(char* from_string, char** to){
	char* start = strchr(from_string, '"')+1;
	char* end = strchr(start, '"');
	if(start == NULL || end == NULL){
		LOG_ERR("config string reading error");
		return -EINVAL;
	}
	uint32_t len = end-start;
	
	*to = k_malloc(len+1);
	memcpy(*to, start, len);
	(*to)[len] = 0;//null terminate string
	
	return 0;
}


int store_format_type(char* from_string, enum image_format* to){
	int enum_int;
	store_int(from_string, &enum_int);
	*to = enum_int;
	return 0;
}

int store_cypher_type(char* from_string, enum cypher_type* to){
	int enum_int;
	store_int(from_string, &enum_int);
	*to = enum_int;
	return 0;
}

int store_trigger_type(char* from_string, enum trigger_type* to){
	int enum_int;
	store_int(from_string, &enum_int);
	*to = enum_int;
	return 0;
}




int store_value(char* val, uint32_t* index){
	
	switch (*index){
		case 0://auto_range_time
			store_int(val, &mcfg->im_cfg.auto_range_time);
			break;
		case 1://format
			store_format_type(val, &mcfg->im_cfg.format);
			break;
		case 2://apn
			store_string(val, &mcfg->ftp_cfg.apn);
			break;
		case 3://network_operator
			store_string(val, &mcfg->ftp_cfg.network_operator);
			break;
		case 4://domain
			store_string(val, &mcfg->ftp_cfg.domain);
			break;
		case 5://username
			store_string(val, &mcfg->ftp_cfg.username);
			break;
		case 6://cyphertype
			store_cypher_type(val, &mcfg->ftp_cfg.cyph_type);
			break;
		case 7://password
			store_string(val, &mcfg->ftp_cfg.password);
			const char password[128];
			const char* suffix = PW_SUFFIX;
			size_t pw_len;
			switch(mcfg->ftp_cfg.cyph_type){
				case NONE:
					break;
				case CAESAR:
					decrypt(mcfg->ftp_cfg.password, KEY); 
					break;
				case SUFFIX:
					strcpy(password, mcfg->ftp_cfg.password);
					k_free(mcfg->ftp_cfg.password);
					strcat(password, suffix);
					pw_len = strlen(password);
					mcfg->ftp_cfg.password = k_malloc(pw_len+1);
					memcpy(mcfg->ftp_cfg.password, password, pw_len);
					(mcfg->ftp_cfg.password)[pw_len] = 0;//null terminate string
					break;
			}
			break;
		case 8://image_path
			store_string(val, &mcfg->ftp_cfg.image_path);
			break;
		case 9: //status_path
			store_string(val, &mcfg->ftp_cfg.status_path);
			break;
		case 10://image_path
			store_string(val, &mcfg->sd_cfg.image_path);
			break;
		case 11://status_path
			store_string(val, &mcfg->sd_cfg.status_path);
			break;
		case 12://logging_level
			store_int(val, &mcfg->sd_cfg.logging_level);
			break;
		case 13://trig_type
			store_trigger_type(val, &mcfg->trig_cfg.trig_type);
			break;
		case 14://logging_interval
			store_int(val, &mcfg->trig_cfg.logging_interval);
			break;
		case 15://logging_decimation_ftp
			store_int(val, &mcfg->trig_cfg.logging_decimation_ftp);
			break;
	}
	
	
	(*index)++;
	return 0;
}

int parse_config_file(struct fs_file_t* zfp){
	char next;
	char value[256];
	uint32_t value_indx = 0;
	uint32_t config_index = 0;
	bool pre_comment = 0;
	bool string = 0;
	enum parse_state state = NAME;
	int ret;
	
	do{
		ret = fs_read(zfp, &next, 1);
		if(ret < 0){return ret;}
		
		if(next != '/'){pre_comment = 0;}
		
		switch (state){
		case NAME:
			if (next == '='){state = VALUE; value_indx = 0; string = 0;}
			if (next == '/'){
				if (pre_comment){
					state = COMMENT;
				} else {
					pre_comment = 1;
				}
			}
			break;
		case COMMENT:
			if (next == '\n'){state = NAME;}
			break;
		case VALUE:
			value[value_indx] = next;
			value_indx++;
			if(next == '"'){
				string = !string;
			}
			if (next == '\n'){store_value(value, &config_index); state = NAME;}
			if (next == '/' && !string){
				if (pre_comment){
					store_value(value, &config_index);
					state = COMMENT;
				} else {
					pre_comment = 1;
				}
			}
			break;
		}
	}while(ret > 0);
	
	return 0;
}
```

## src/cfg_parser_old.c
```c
#include <string.h>
#include <stdlib.h>
#include <stdio.h>


#include "common.h"


enum type_type{
	NULL_TYPE,
	UINT32_T_TYPE,
	CHARP_TYPE,	
	ENUM_TYPE,
};

struct config_variable_t {
	enum type type_type;
	char* name;
	void* vp;
};

config_variable_t auto_range_time_cfg {UINT32_T_TYPE, "auto_range_time", NULL};


int next_token(){
	
}


const config_variable_t null_option = {NULL_TYPE, NULL, NULL};
int parse(){


	while(line){

		config_variable_t line_option = null_option;

		if(!next_tok == type){goto syntax_error;}
		line_option.type_type = next_tok;

		if(!next_tok == name){goto syntax_error;}
		line_option.name = next_tok;

		if(tokmatch(line_option)){goto match_error;}

		if(!next_tok == '='){goto syntax_error;}

		if(!next_tok == value){goto syntax_error;}
		line_option.vp = parse_val_tok(next_tok);

	}

syntax_error:
match_error:


	return ret;

}


enum parse_state{
	NAME = 0,
	COMMENT,
	VALUE,
};

int store_int(char* from_string, uint32_t* to){
	*to = atoi(from_string); 
	return 0;
}
int store_string(char* from_string, char** to){
	char* start = strchr(from_string, '"')+1;
	char* end = strchr(start, '"');
	if(start == NULL || end == NULL){
		LOG_ERR("config string reading error");
		return -EINVAL;
	}
	uint32_t len = end-start;
	
	*to = k_malloc(len+1);
	memcpy(*to, start, len);
	(*to)[len] = 0;//null terminate string
	
	return 0;
}


int store_format_type(char* from_string, enum image_format* to){
	int enum_int;
	store_int(from_string, &enum_int);
	*to = enum_int;
	return 0;
}

int store_cypher_type(char* from_string, enum cypher_type* to){
	int enum_int;
	store_int(from_string, &enum_int);
	*to = enum_int;
	return 0;
}

int store_trigger_type(char* from_string, enum trigger_type* to){
	int enum_int;
	store_int(from_string, &enum_int);
	*to = enum_int;
	return 0;
}




int store_value(char* val, uint32_t* index){
	
	switch (*index){
		case 0://auto_range_time
			store_int(val, &mcfg->im_cfg.auto_range_time);
			break;
		case 1://format
			store_format_type(val, &mcfg->im_cfg.format);
			break;
		case 2://apn
			store_string(val, &mcfg->ftp_cfg.apn);
			break;
		case 3://network_operator
			store_string(val, &mcfg->ftp_cfg.network_operator);
			break;
		case 4://domain
			store_string(val, &mcfg->ftp_cfg.domain);
			break;
		case 5://username
			store_string(val, &mcfg->ftp_cfg.username);
			break;
		case 6://cyphertype
			store_cypher_type(val, &mcfg->ftp_cfg.cyph_type);
			break;
		case 7://password
			store_string(val, &mcfg->ftp_cfg.password);
			const char password[128];
			const char* suffix = PW_SUFFIX;
			size_t pw_len;
			switch(mcfg->ftp_cfg.cyph_type){
				case NONE:
					break;
				case CAESAR:
					decrypt(mcfg->ftp_cfg.password, KEY); 
					break;
				case SUFFIX:
					strcpy(password, mcfg->ftp_cfg.password);
					k_free(mcfg->ftp_cfg.password);
					strcat(password, suffix);
					pw_len = strlen(password);
					mcfg->ftp_cfg.password = k_malloc(pw_len+1);
					memcpy(mcfg->ftp_cfg.password, password, pw_len);
					(mcfg->ftp_cfg.password)[pw_len] = 0;//null terminate string
					break;
			}
			break;
		case 8://image_path
			store_string(val, &mcfg->ftp_cfg.image_path);
			break;
		case 9: //status_path
			store_string(val, &mcfg->ftp_cfg.status_path);
			break;
		case 10://image_path
			store_string(val, &mcfg->sd_cfg.image_path);
			break;
		case 11://status_path
			store_string(val, &mcfg->sd_cfg.status_path);
			break;
		case 12://logging_level
			store_int(val, &mcfg->sd_cfg.logging_level);
			break;
		case 13://trig_type
			store_trigger_type(val, &mcfg->trig_cfg.trig_type);
			break;
		case 14://logging_interval
			store_int(val, &mcfg->trig_cfg.logging_interval);
			break;
		case 15://logging_decimation_ftp
			store_int(val, &mcfg->trig_cfg.logging_decimation_ftp);
			break;
	}
	
	
	(*index)++;
	return 0;
}

int parse_config_file(struct fs_file_t* zfp){
	char next;
	char value[256];
	uint32_t value_indx = 0;
	uint32_t config_index = 0;
	bool pre_comment = 0;
	bool string = 0;
	enum parse_state state = NAME;
	int ret;
	
	do{
		ret = fs_read(zfp, &next, 1);
		if(ret < 0){return ret;}
		
		if(next != '/'){pre_comment = 0;}
		
		switch (state){
		case NAME:
			if (next == '='){state = VALUE; value_indx = 0; string = 0;}
			if (next == '/'){
				if (pre_comment){
					state = COMMENT;
				} else {
					pre_comment = 1;
				}
			}
			break;
		case COMMENT:
			if (next == '\n'){state = NAME;}
			break;
		case VALUE:
			value[value_indx] = next;
			value_indx++;
			if(next == '"'){
				string = !string;
			}
			if (next == '\n'){store_value(value, &config_index); state = NAME;}
			if (next == '/' && !string){
				if (pre_comment){
					store_value(value, &config_index);
					state = COMMENT;
				} else {
					pre_comment = 1;
				}
			}
			break;
		}
	}while(ret > 0);
	
	return 0;
}
```

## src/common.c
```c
#include "common.h"



static const char* time_source_str[] = {
                                        "GNSS_TIME",
                                        "NETWORK_TIME",
                                        "NTP_TIME",
                                        "FS_TIME",
                                        "NO_TIME",
                                        "EXT_TIME",
                                        };

static const char* trigger_str[] = {
                                        "TIME_TRIGGER",
                                        "WAKE_TRIGGER",
                                        "UART_TRIGGER",
                                        "NETWORK_TRIGGER",
                                        };

int LOG_UNIXTIME(const int32_t ln){
    int ret = 0;
    int32_t ct;
    uint64_t unix_time_ms;
    ret = date_time_now(&unix_time_ms);
    if(ret < 0){return ret;}
    ct = (uint32_t) (unix_time_ms/1000);

    printk("%d: UNIX TIME: %d s\n", ln, ct);


    return 0;
}


void led(bool on) {
#if NCS_VERSION_NUMBER >= 0x20100
    static const struct gpio_dt_spec led_dt = GPIO_DT_SPEC_GET(DT_ALIAS(led0), gpios);
    int ret = gpio_pin_configure_dt(&led_dt, GPIO_OUTPUT_ACTIVE);
    if (ret >= 0) {
        gpio_pin_set_dt(&led_dt, (int)on);
    }
#else
    #define LED0_NODE DT_ALIAS(led0)
    #define PIN       DT_GPIO_PIN(LED0_NODE, gpios)
    #define LED0      DT_GPIO_LABEL(LED0_NODE, gpios)
    #define FLAGS     DT_GPIO_FLAGS(LED0_NODE, gpios)
    const struct device* leddev = device_get_binding(LED0);
    int ret = gpio_pin_configure(leddev, PIN, GPIO_OUTPUT_ACTIVE | FLAGS);
    if (ret >= 0) {
        gpio_pin_set(leddev, PIN, (int)on);
    }
#endif
}

const char* const strftimesource(const uint8_t index) {
    if (index < sizeof(time_source_str)/sizeof(time_source_str[0])){ return time_source_str[index];}
    else {          return NULL; }
}

const char* const strftrigger(const uint8_t index) {
    if (index < sizeof(trigger_str)/sizeof(trigger_str[0])){ return trigger_str[index]; }
    else {          return NULL; }
}
```

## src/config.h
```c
#pragma once

#define CAMADDR_WR  0x42
#define CAMADDR_RD  0x43
#define CAMADDR		0x21

#define SCCB_VS		11
#define SCCB_HREF	12
#define SCCB_PCLK	13
#define SCCB_XCLK	14
#define SCCB_PEN	15
#define SCCB_PDN	16

#define SCCB_CLK_DPPI_CH 0
#define GPIOTE_CLK_TSK 0

#define BMPIMAGEOFFSET 66
#define IMAGE_WIDTH			(320)
#define IMAGE_HEIGHT		(240)
#define IMAGE_SIZE_BYTES 	(IMAGE_WIDTH*IMAGE_HEIGHT*2)

static const char bmp_header[BMPIMAGEOFFSET] =
{
  0x42, 0x4D, 0x36, 0x58, 0x02, 0x00, 0x00, 0x00, 0x00, 0x00, 0x42, 0x00, 0x00, 0x00, 0x28, 0x00,
  0x00, 0x00, 0x40, 0x01, 0x00, 0x00, 0xF0, 0x00, 0x00, 0x00, 0x01, 0x00, 0x10, 0x00, 0x03, 0x00,
  0x00, 0x00, 0x00, 0x58, 0x02, 0x00, 0xC4, 0x0E, 0x00, 0x00, 0xC4, 0x0E, 0x00, 0x00, 0x00, 0x00,
  0x00, 0x00, 0x00, 0x00, 0x00, 0x00, 0x00, 0xF8, 0x00, 0x00, 0xE0, 0x07, 0x00, 0x00, 0x1F, 0x00,
  0x00, 0x00
};
```

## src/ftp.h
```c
#pragma once

void ftp_setup(void);
int ftp_write_image(const struct ftp_config_t* ftp_cfg_p, const struct capture_t*);
int ftp_write_status(const struct ftp_config_t* ftp_cfg_p, const struct status_t*, const struct capture_task_t*);
```

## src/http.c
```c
#include <errno.h>
#include <string.h>

#include <net/socket.h>
#include <net/http_client.h>

#include "common.h"
#include "http.h"

LOG_MODULE_REGISTER(http);

#define HTTP_TIMEOUT_MS 10000

static int resolve_endpoint(struct http_endpoint* ep) {
    if (ep->addr_valid) {return 0;}

    struct addrinfo hints = {
        .ai_family = AF_INET,
        .ai_socktype = SOCK_STREAM,
    };

    struct addrinfo *res;
    int ret = getaddrinfo(ep->host, NULL, &hints, &res);
    if (ret) {
        LOG_ERR("DNS failed (%d)", ret);
        return -ENOENT;
    }

    struct sockaddr_in* addr = (struct sockaddr_in*)res->ai_addr;
    ep->addr = *addr;
    ep->addr.sin_port = htons(ep->port);
    ep->addr_valid = true;

    char ip_str[INET_ADDRSTRLEN];
    inet_ntop(AF_INET, &addr->sin_addr, ip_str, sizeof(ip_str));
    LOG_INF("DNS resolution: %s -> %s", log_strdup(ep->host), log_strdup(ip_str));

    freeaddrinfo(res);
    return 0;
}

int http_endpoint_init_ip(struct http_endpoint* ep,
                          const char* ip,
                          uint16_t port) {
    memset(ep, 0, sizeof(*ep));

    ep->host = ip;
    ep->port = port;
    ep->addr.sin_family = AF_INET;
    ep->addr.sin_port = htons(port);
    if (inet_pton(AF_INET, ip, &ep->addr.sin_addr) != 1) {
        return -EINVAL;
    }
    ep->addr_valid = true;

    return 0;
}

int http_endpoint_init_host(struct http_endpoint* ep,
                            const char* host,
                            uint16_t port) {
    memset(ep, 0, sizeof(*ep));
    ep->host = host;
    ep->port = port;

    return 0;
}

static int open_socket(struct http_endpoint* ep) {
    int sock;

    int ret = resolve_endpoint(ep);
    if (ret) {return ret; }

    sock = socket(AF_INET, SOCK_STREAM, IPPROTO_TCP);
    if (sock < 0) {return -errno; }

    ret = connect(sock, (struct sockaddr*)&ep->addr, sizeof(ep->addr));
    if (ret < 0) {
        close(sock);
        return -errno;
    }

    return sock;
}

static void response_cb(struct http_response* rsp,
                        enum http_final_call final_data,
                        void* user_data) {
    struct http_endpoint* ep = user_data;

    ep->truncated = rsp->data_len > sizeof(ep->recv_buf);
    if (ep->truncated) { ep->recv_len = sizeof(ep->recv_buf); } 
    else { ep->recv_len = rsp->data_len; }

    ep->status = rsp->http_status_code;
}

static int do_request(const int sock, struct http_endpoint* ep, const char* path) {
    struct http_request req = {
        .method = HTTP_GET,
        .url = path,
        .host = ep->host,
        .protocol = "HTTP/1.1",
        .response = response_cb,
        .recv_buf = ep->recv_buf,
        .recv_buf_len = sizeof(ep->recv_buf),
    };
    ep->recv_len = 0;

    return http_client_req(sock, &req, HTTP_TIMEOUT_MS, ep);
}

int http_get(struct http_endpoint* ep, const char* path) {
    int ret;
    int sock;

    memset(ep->recv_buf, 0, sizeof(ep->recv_buf));
    ep->recv_len = 0;

    sock = open_socket(ep);
    if (sock < 0) {return sock; }

    ret = do_request(sock, ep, path);
    close(sock);
    if (ret < 0) {
        LOG_ERR("HTTP request failed (%d)", ret);
        return ret;
    }

    LOG_INF("HTTP request complete");
    return 0;
}

char* http_body(struct http_endpoint* ep) {
    char* body;
    body = strstr((char*)ep->recv_buf, "\r\n\r\n");
    if (body) { return body + 4; }
    return (char*)ep->recv_buf;
}

/******************************************************************************/
/* HELPERS                                                                    */
/******************************************************************************/

int http_get_uint32(struct http_endpoint* ep,
                    const char* path,
                    uint32_t* value) {
    int ret = http_get(ep, path);
    if (ret){return ret; }

    if (ep->status < 200 || ep->status >= 300){
        return -EIO;
    }
    if (ep->truncated){return -EMSGSIZE; }

    char *body = http_body(ep);
    if (body == NULL){return -EINVAL; }

    size_t body_len = ep->recv_len - (body - (char*)ep->recv_buf);

    /* Parse first chunk size (hex). */
    errno = 0;
    char *chunk_end;
    unsigned long chunk_size = strtoul(body, &chunk_end, 16);
    if (chunk_end == body){return -EINVAL; }
    if (errno == ERANGE){return -ERANGE; }

    /* Chunk size line must end with CRLF. */
    size_t chunk_header_len = chunk_end - body;
    if (chunk_header_len + 2 > body_len){return -EINVAL; }

    if (chunk_end[0] != '\r' || chunk_end[1] != '\n'){
        return -EINVAL;
    }
    chunk_end += 2;
    body_len -= chunk_header_len + 2;

    /* Ensure the first chunk contains at least one byte. */
    if (chunk_size == 0 || chunk_size > body_len){
        return -EINVAL;
    }

    /* Parse integer from first chunk data. */
    errno = 0;
    char *end;
    unsigned long parsed = strtoul(chunk_end, &end, 10);
    if (end == chunk_end){return -EINVAL; }
    if (errno == ERANGE || parsed > UINT32_MAX){
        return -ERANGE;
    }

    *value = (uint32_t)parsed;
    return 0;
}
```

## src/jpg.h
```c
#pragma once

#include "common.h"

int sdhc_write_jpg(const char* sdhc_path, struct capture_t* capture);
```
